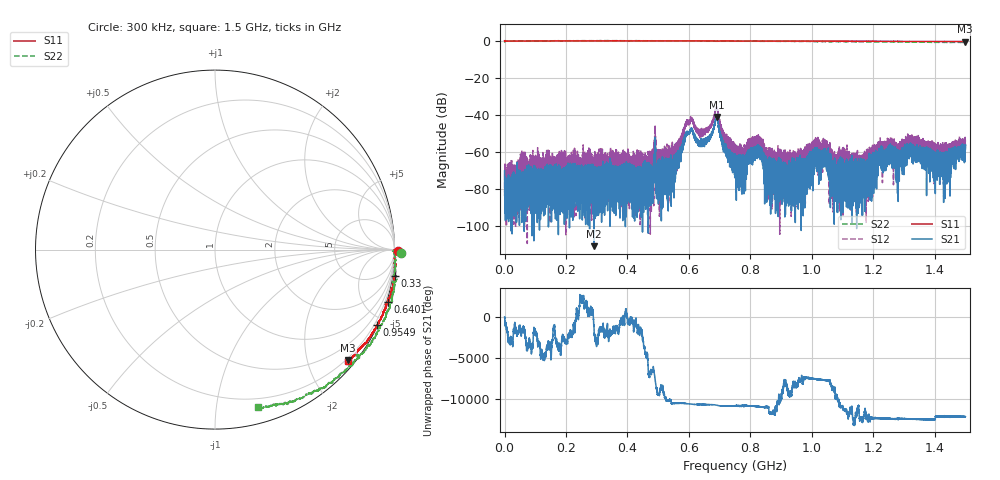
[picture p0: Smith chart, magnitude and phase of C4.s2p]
!Agilent Technologies,N5230C,SG49000117,A.08.50.07
!Agilent N5230C: A.08.50.07
!Date: Thursday, December 07, 2023 05:44:40
!Correction: S11(Full 2 Port(1,2))
!S21(Full 2 Port(1,2))
!S12(Full 2 Port(1,2))
!S22(Full 2 Port(1,2))
!S2P File: Measurements: S11, S21, S12, S22:
# Hz S  RI  R 50
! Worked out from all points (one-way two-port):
!   20001 points, 300 kHz to 1.5 GHz, reference 50 ohm
!   highest |S21| = -41.04 dB at 690.4 MHz (marker M1); lowest = -111.0 dB at 290.8 MHz (marker M2)
!   lowest |S11| = -0.3 dB at 1.497 GHz (marker M3), VSWR 55.54, Z = 7.81 - j138 ohm
!   |S11| at or under -10 dB: nowhere
!   |S22| runs from -0.8 to 0.3 dB; largest |S21 - S12| = 0.0086
!   S11 on the Smith chart (normalised r, x): 300 kHz: -87, -47; 330 MHz: -1, -14; 640.1 MHz: -0.18, -6.81; 954.9 MHz: 0.03, -4.50; 1.5 GHz: 0.14, -2.77
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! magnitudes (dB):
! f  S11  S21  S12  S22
! 300 kHz  0.2  -70.2  -83.9  0.3
! 62.76 MHz  0.0  -83.4  -84.4  0.0
! 250.3 MHz  0.1  -82.4  -67.7  0.2
! 290.8 MHz  0.1  -111.0  -75.5  0.2
! 330 MHz  0.1  -77.5  -68.3  0.2
! 485.5 MHz  0.1  -70.9  -63.0  0.1
! 500.2 MHz  0.1  -74.4  -63.0  0.2
! 545.9 MHz  0.1  -70.2  -63.6  0.1
! 601.8 MHz  0.1  -50.0  -43.4  0.1
! 640.1 MHz  0.1  -55.0  -48.0  0.0
! 690.4 MHz  0.0  -41.0  -35.8  -0.1
! 750.1 MHz  0.0  -62.3  -62.1  0.0
! 779.9 MHz  0.0  -70.5  -60.0  -0.1
! 826.8 MHz  0.0  -59.8  -55.4  -0.1
! 856.5 MHz  0.0  -72.3  -63.4  -0.1
! 954.9 MHz  0.0  -72.9  -83.7  -0.2
! 1 GHz  0.0  -64.2  -61.8  -0.2
! 1.16 GHz  -0.1  -71.7  -78.5  -0.4
! 1.25 GHz  -0.2  -59.6  -54.6  -0.4
! 1.434 GHz  -0.3  -66.8  -55.0  -0.7
! 1.497 GHz  -0.3  -60.7  -54.0  -0.8
! 1.5 GHz  -0.3  -56.2  -53.7  -0.8
